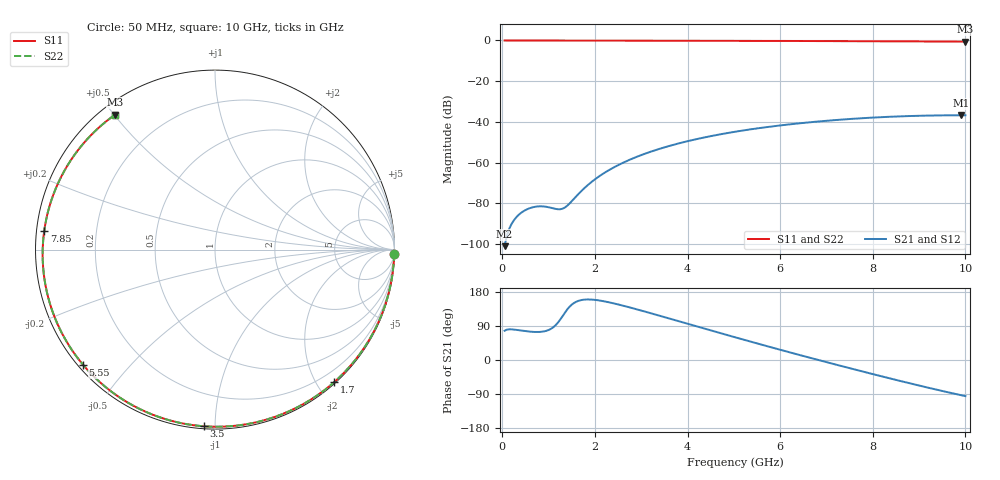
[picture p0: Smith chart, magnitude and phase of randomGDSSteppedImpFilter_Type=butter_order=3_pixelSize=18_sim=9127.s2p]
! freq	dB(S11)	phase(S11)	dB(S12)	phase(S12)
!  dB(S21)	phase(S21)	dB(S22)	phase(S22)
!S-par simulation data
#  GHz  S  DB  R 50
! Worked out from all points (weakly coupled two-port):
!   200 points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, 50 MHz to 10 GHz, reference 50 ohm
!   highest |S21| = -36.74 dB at 9.9 GHz (marker M1); lowest = -101.0 dB at 50 MHz (marker M2)
!   lowest |S11| = -0.6 dB at 10 GHz (marker M3), VSWR 29.94, Z = 2.1 + j25.2 ohm
!   |S11| at or under -10 dB: nowhere
!   |S22| runs from -0.6 to 0.0 dB; largest |S21 - S12| = 0
!   S11 on the Smith chart (normalised r, x): 50 MHz: 2, -82; 1.7 GHz: 0.02, -2.25; 3.5 GHz: 0.01, -0.94; 5.55 GHz: 0.01, -0.37; 7.85 GHz: 0.02, +0.05; 10 GHz: 0.04, +0.50
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0.05  -0.00 -1.4  -101.02 77.3  -101.02 77.3  -0.00 -1.4
0.7  -0.03 -20.1  -81.72 74.0  -81.72 74.0  -0.03 -20.1
1.05  -0.04 -30.0  -82.15 82.2  -82.15 82.2  -0.04 -30.0
1.45  -0.05 -41.1  -80.12 140.3  -80.12 140.3  -0.05 -41.1
1.7  -0.06 -47.9  -74.11 158.0  -74.11 158.0  -0.06 -47.9
1.75  -0.06 -49.3  -73.00 159.0  -73.00 159.0  -0.06 -49.3
2.05  -0.07 -57.3  -67.37 157.9  -67.37 157.9  -0.07 -57.3
2.45  -0.08 -67.7  -61.83 148.2  -61.83 148.2  -0.08 -67.7
2.9  -0.10 -79.0  -57.17 133.9  -57.17 133.9  -0.10 -79.0
3.4  -0.12 -91.2  -53.19 116.7  -53.19 116.7  -0.12 -91.2
3.5  -0.12 -93.6  -52.50 113.2  -52.50 113.2  -0.12 -93.6
4.25  -0.15 -110.8  -48.17 86.9  -48.17 86.9  -0.15 -110.8
5.05  -0.19 -128.3  -44.74 59.2  -44.74 59.2  -0.19 -128.3
5.55  -0.21 -138.9  -43.04 42.1  -43.04 42.1  -0.21 -138.9
6.15  -0.25 -151.3  -41.34 22.1  -41.34 22.1  -0.25 -151.3
6.7  -0.29 -162.6  -40.05 4.0  -40.05 4.0  -0.29 -162.6
7.3  -0.33 -174.9  -38.91 -15.2  -38.91 -15.2  -0.33 -174.9
7.85  -0.38 173.7  -38.07 -32.5  -38.07 -32.5  -0.38 173.7
8.35  -0.43 163.2  -37.49 -48.0  -37.49 -48.0  -0.43 163.2
9.1  -0.50 146.9  -36.94 -70.3  -36.94 -70.3  -0.50 146.9
9.9  -0.57 128.8  -36.74 -92.7  -36.74 -92.7  -0.57 128.8
10  -0.58 126.4  -36.75 -95.4  -36.75 -95.4  -0.58 126.4
